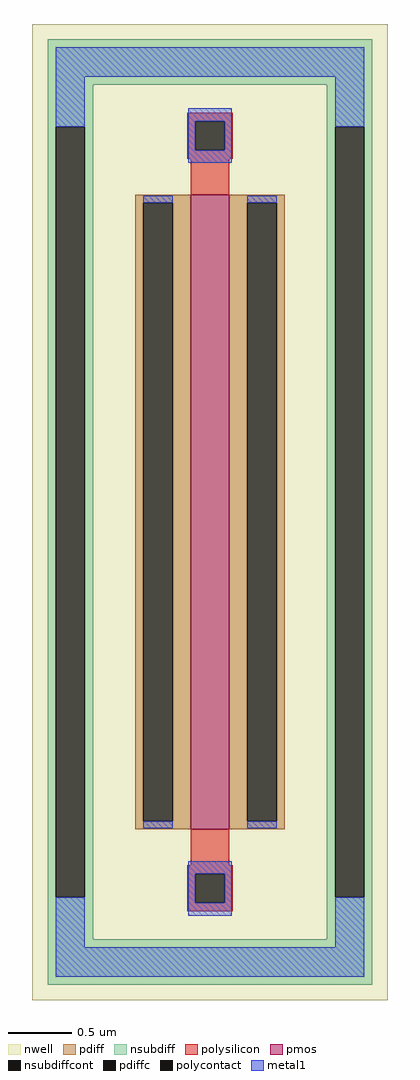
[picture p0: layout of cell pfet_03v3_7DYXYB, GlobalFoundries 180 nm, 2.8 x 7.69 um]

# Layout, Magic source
magic
tech gf180mcuD
magscale 1 10
<< nwell >>
rect -280 -769 280 769
<< pmos >>
rect -30 -500 30 500
<< pdiff >>
rect -118 487 -30 500
rect -118 -487 -105 487
rect -59 -487 -30 487
rect -118 -500 -30 -487
rect 30 487 118 500
rect 30 -487 59 487
rect 105 -487 118 487
rect 30 -500 118 -487
<< pdiffc >>
rect -105 -487 -59 487
rect 59 -487 105 487
<< nsubdiff >>
rect -256 673 256 745
rect -256 607 -184 673
rect -256 -607 -243 607
rect -197 -607 -184 607
rect 184 607 256 673
rect -256 -673 -184 -607
rect 184 -607 197 607
rect 243 -607 256 607
rect 184 -673 256 -607
rect -256 -745 256 -673
<< nsubdiffcont >>
rect -243 -607 -197 607
rect 197 -607 243 607
<< polysilicon >>
rect -36 616 36 629
rect -36 570 -23 616
rect 23 570 36 616
rect -36 557 36 570
rect -30 500 30 557
rect -30 -557 30 -500
rect -36 -570 36 -557
rect -36 -616 -23 -570
rect 23 -616 36 -570
rect -36 -629 36 -616
<< polycontact >>
rect -23 570 23 616
rect -23 -616 23 -570
<< metal1 >>
rect -243 686 243 732
rect -243 607 -197 686
rect -34 616 34 636
rect -34 570 -23 616
rect 23 570 34 616
rect -34 550 34 570
rect 197 607 243 686
rect -105 487 -59 498
rect -105 -498 -59 -487
rect 59 487 105 498
rect 59 -498 105 -487
rect -243 -686 -197 -607
rect -34 -570 34 -550
rect -34 -616 -23 -570
rect 23 -616 34 -570
rect -34 -636 34 -616
rect 197 -686 243 -607
rect -243 -732 243 -686
<< properties >>
string FIXED_BBOX -220 -650 220 650
string gencell pfet_03v3
string library gf180mcu
string parameters w 5 l 0.3 m 1 nf 1 diffcov 100 polycov 100 guard 1 glc 1 grc 1 gtc 0 gbc 0 tbcov 100 rlcov 100 topc 1 botc 1 poverlap 0 doverlap 1 lmin 0.28 wmin 0.22 class mosfet full_metal 1 compatible {pfet_03v3 pfet_05v0 pfet_06v0}
<< end >>
